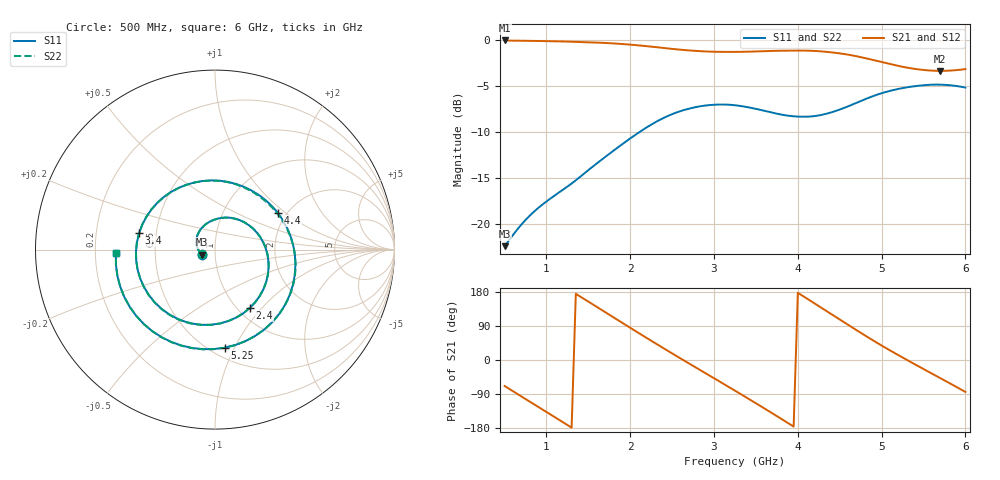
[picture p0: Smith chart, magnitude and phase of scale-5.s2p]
! Touchstone file from project sampleWidthScale-5
! Exported from HFSS-IE 2014.0.2
! Variables:
!  $perm = 6
!  impedance = 157.9ohm
!  insulationThickness = 0in
!  length = 4in
!  portSize = 1mm
!  sampleSide = 0.625in
!  sampleThickness = 0.25in
!  scale = 5
!  spacing = 0.25in
!  wireDiam = 0.125in
!  wireRadius = 0.0625in
# GHZ S MA R 157.900000
! Terminal data exported
! Port[1] = Rectangle2_T1
! Port[2] = Rectangle2_T2
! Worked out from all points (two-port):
!   111 points, 500 MHz to 6 GHz, reference 157.9 ohm
!   highest |S21| = -0.03 dB at 500 MHz (marker M1); lowest = -3.3 dB at 5.7 GHz (marker M2)
!   |S21| within 3 dB of the highest: start of sweep to 5.335 GHz
!   lowest |S11| = -22.4 dB at 500 MHz (marker M3), VSWR 1.16, Z = 137 - j7.53 ohm
!   |S11| at or under -10 dB: start of sweep to 2.106 GHz
!   |S22| runs from -22.4 to -4.8 dB; largest |S21 - S12| = 2.6e-14
!   S11 on the Smith chart (normalised r, x): 500 MHz: 0.87, -0.05; 2.4 GHz: 1.14, -0.86; 3.4 GHz: 0.40, +0.09; 4.4 GHz: 1.80, +0.88; 5.25 GHz: 0.58, -0.92; 6 GHz: 0.29, -0.02
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0.5  0.07615 -158.9  0.9963 -68.7  0.9963 -68.7  0.07602 -159.1
0.7  0.09973 173.2  0.9926 -96.1  0.9926 -96.1  0.1001 173.3
0.9  0.1226 146.1  0.9897 -123.5  0.9897 -123.5  0.1222 146.0
1.2  0.1547 105.0  0.9835 -164.7  0.9835 -164.7  0.1545 104.9
1.45  0.1889 71.1  0.9751 160.9  0.9751 160.9  0.1886 71.0
1.7  0.2321 36.1  0.9656 126.4  0.9656 126.4  0.2326 36.2
1.9  0.2715 8.6  0.9534 98.7  0.9534 98.7  0.2728 8.5
2.1  0.3149 -18.6  0.9368 71.2  0.9368 71.2  0.316 -18.9
2.35  0.3688 -52.4  0.9119 37.4  0.9119 37.4  0.369 -52.7
2.4  0.3786 -59.1  0.9068 30.7  0.9068 30.7  0.3788 -59.4
2.8  0.4347 -112.4  0.8735 -22.1  0.8735 -22.1  0.4368 -112.5
3.25  0.4432 -172.0  0.8637 -81.0  0.8637 -81.0  0.4433 -172.0
3.4  0.4327 167.8  0.8659 -100.9  0.8659 -100.9  0.4331 167.9
3.6  0.4138 140.8  0.8713 -127.7  0.8713 -127.7  0.4137 140.8
3.85  0.3911 106.7  0.8768 -161.9  0.8768 -161.9  0.3904 106.6
4.2  0.3872 58.2  0.8737 149.3  0.8737 149.3  0.3836 57.6
4.4  0.4056 30.3  0.8587 121.0  0.8587 121.0  0.4014 30.1
4.7  0.4568 -11.3  0.8179 78.9  0.8179 78.9  0.459 -11.5
5.1  0.5306 -65.0  0.7428 25.4  0.7428 25.4  0.5308 -65.3
5.25  0.5492 -84.4  0.7171 6.7  0.7171 6.7  0.5497 -84.4
5.7  0.5734 -140.1  0.6813 -47.8  0.6813 -47.8  0.5735 -140.0
6  0.5528 -177.8  0.6967 -84.2  0.6967 -84.2  0.5523 -177.8
